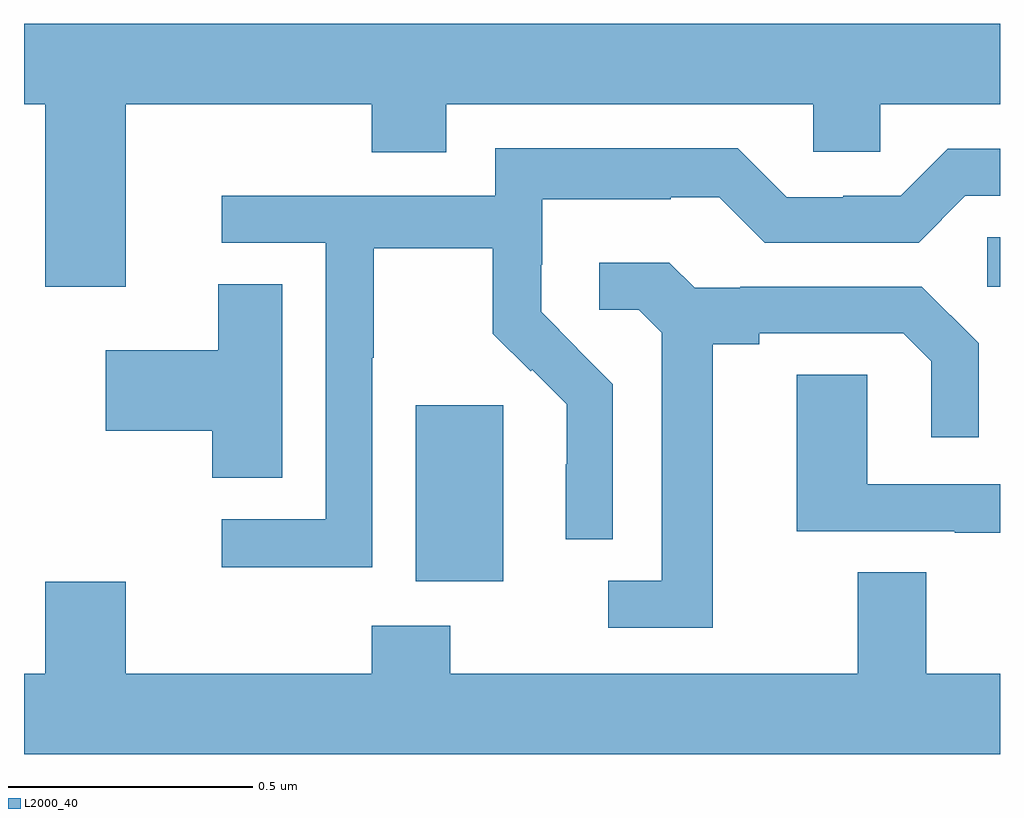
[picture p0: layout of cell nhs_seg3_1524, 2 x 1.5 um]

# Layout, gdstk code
import gdstk
lib = gdstk.Library(unit=1e-6, precision=1e-09)
def R(c, l, rs):  # rectangles x0, y0, x1, y1
    for r in rs: c.add(gdstk.rectangle(r[:2], r[2:], *l))
def P(c, l, *ps):  # polygons
    for p in ps: c.add(gdstk.Polygon(p, *l))
L2000_40 = (2000, 40)

nhs_seg3_1524 = lib.new_cell('nhs_seg3_1524')
R(nhs_seg3_1524, L2000_40, [(129.803,745.226,129.982,745.587), (130.974,745.83,131,745.931)])
P(nhs_seg3_1524, L2000_40, [(129.208,746.204),(129.713,746.204),(129.713,746.105),(129.865,746.105),(129.865,746.204),(130.617,746.204),(130.617,746.106),(130.755,746.106),(130.755,746.204),(131,746.204),(131,746.368),(129,746.368),(129,746.204),(129.044,746.204),(129.044,745.83),(129.208,745.83)],
  [(129.714,745.684),(129.717,745.684),(129.717,745.908),(129.961,745.908),(129.961,745.733),(130.038,745.656),(130.041,745.659),(130.112,745.589),(130.112,745.466),(130.11,745.466),(130.11,745.312),(130.206,745.312),(130.206,745.63),(130.133,745.703),(130.134,745.704),(130.06,745.778),(130.06,745.875),(130.062,745.875),(130.062,746.009),(130.325,746.009),(130.325,746.013),(130.425,746.013),(130.518,745.92),(130.833,745.92),(130.929,746.016),(131,746.016),(131,746.112),(130.893,746.112),(130.797,746.016),(130.679,746.016),(130.679,746.013),(130.563,746.013),(130.463,746.113),(129.966,746.113),(129.966,746.016),(129.405,746.016),(129.405,745.92),(129.618,745.92),(129.618,745.353),(129.405,745.353),(129.405,745.255),(129.714,745.255)],
  [(130.411,745.712),(130.507,745.712),(130.507,745.734),(130.802,745.734),(130.859,745.677),(130.859,745.521),(130.956,745.521),(130.956,745.714),(130.84,745.83),(130.468,745.83),(130.468,745.827),(130.374,745.827),(130.322,745.879),(130.179,745.879),(130.179,745.782),(130.26,745.782),(130.307,745.735),(130.307,745.227),(130.197,745.227),(130.197,745.131),(130.411,745.131)],
  [(129.529,745.835),(129.398,745.835),(129.398,745.699),(129.168,745.699),(129.168,745.534),(129.386,745.534),(129.386,745.438),(129.529,745.438)],
  [(131,745.425),(130.728,745.425),(130.728,745.649),(130.583,745.649),(130.583,745.329),(130.907,745.329),(130.907,745.325),(131,745.325)],
  [(131,745.036),(130.849,745.036),(130.849,745.244),(130.709,745.244),(130.709,745.036),(129.873,745.036),(129.873,745.135),(129.713,745.135),(129.713,745.036),(129.208,745.036),(129.208,745.225),(129.044,745.225),(129.044,745.036),(129,745.036),(129,744.872),(131,744.872)])

lib.write_gds('nhs_seg3_1524.gds')
